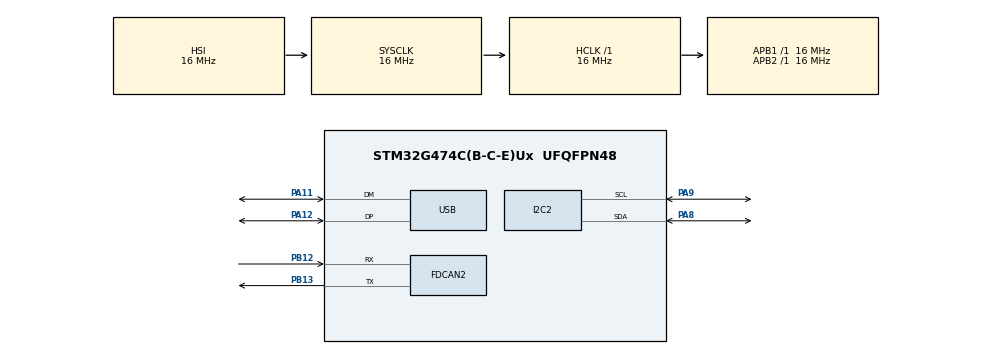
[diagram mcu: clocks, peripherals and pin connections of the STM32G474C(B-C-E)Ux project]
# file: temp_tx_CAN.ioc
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FDCAN2.CalculateBaudRateNominal=500000
FDCAN2.CalculateTimeBitNominal=2000
FDCAN2.CalculateTimeQuantumNominal=125.0
FDCAN2.NominalPrescaler=2
FDCAN2.NominalTimeSeg1=13
FDCAN2.NominalTimeSeg2=2
I2C2.Timing=0x00503D58
Mcu.Family=STM32G4
Mcu.Name=STM32G474C(B-C-E)Ux
Mcu.Package=UFQFPN48
NVIC.FDCAN2_IT0_IRQn=true\:0\:0\:false\:false\:true\:true\:true\:true
NVIC.PriorityGroup=NVIC_PRIORITYGROUP_4
NVIC.USB_LP_IRQn=true\:0\:0\:false\:false\:true\:false\:true\:true
PA11.Mode=Device
PA11.Signal=USB_DM
PA12.Mode=Device
PA12.Signal=USB_DP
PA8.Mode=I2C
PA8.Signal=I2C2_SDA
PA9.Mode=I2C
PA9.Signal=I2C2_SCL
PB12.Mode=FDCAN_Activate
PB12.Signal=FDCAN2_RX
PB13.Mode=FDCAN_Activate
PB13.Signal=FDCAN2_TX
ProjectManager.HeapSize=0x200
ProjectManager.StackSize=0x400
ProjectManager.TargetToolchain=STM32CubeIDE
RCC.AHBFreq_Value=16000000
RCC.APB1Freq_Value=16000000
RCC.APB1TimFreq_Value=16000000
RCC.APB2Freq_Value=16000000
RCC.APB2TimFreq_Value=16000000
RCC.CortexFreq_Value=16000000
RCC.EXTERNAL_CLOCK_VALUE=12288000
RCC.HCLKFreq_Value=16000000
RCC.HSE_VALUE=8000000
RCC.HSI48_VALUE=48000000
RCC.HSI_VALUE=16000000
RCC.LSE_VALUE=32768
RCC.PLLN=12
RCC.PLLQ=RCC_PLLQ_DIV4
RCC.SYSCLKFreq_VALUE=16000000
RCC.USBFreq_Value=48000000
RCC.VCOOutputFreq_Value=192000000
USB_DEVICE.CLASS_NAME_FS=CDC
USB_DEVICE.VirtualMode=Cdc
USB_DEVICE.VirtualModeFS=Cdc_FS
VP_SYS_VS_DBSignals.Mode=DisableDeadBatterySignals
VP_USB_DEVICE_VS_USB_DEVICE_CDC_FS.Mode=CDC_FS
board=custom

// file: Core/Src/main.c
/* USER CODE BEGIN Header */
/**
  ******************************************************************************
  * @file           : main.c
  * @brief          : Main program body
  ******************************************************************************
  * @attention
  *
  * Copyright (c) 2026 STMicroelectronics.
  * All rights reserved.
  *
  * This software is licensed under terms that can be found in the LICENSE file
  * in the root directory of this software component.
  * If no LICENSE file comes with this software, it is provided AS-IS.
  *
  ******************************************************************************
  */
/* USER CODE END Header */
#include "main.h"
#include "usb_device.h"

/* USER CODE BEGIN Includes */
#include <stdio.h>
#include <string.h>
#include <stdlib.h>
#include "usbd_cdc_if.h"
/* USER CODE END Includes */

/* USER CODE BEGIN PD */
#define MLX90614_ADDR   (0x5A << 1)     // 0xB4
#define MLX90614_TOBJ1  0x07
/* USER CODE END PD */

FDCAN_HandleTypeDef hfdcan2;
I2C_HandleTypeDef hi2c2;

FDCAN_TxHeaderTypeDef TxHeader;
uint8_t TxData[8] = {0};

/* USER CODE BEGIN PV */
uint16_t raw_temp;
int temp_c_x100;
int temp_f_x100;
/* USER CODE END PV */

void SystemClock_Config(void);
static void MX_GPIO_Init(void);
static void MX_FDCAN2_Init(void);
static void MX_I2C2_Init(void);

/* USER CODE BEGIN 0 */
static void CDC_Print(const char *str)
{
    uint8_t retries = 3;
    uint8_t result;
    do {
        result = CDC_Transmit_FS((uint8_t*)str, (uint16_t)strlen(str));
        if (result == USBD_BUSY) HAL_Delay(1);
    } while (result == USBD_BUSY && --retries);
}
/* USER CODE END 0 */

int main(void)
{

  /* MCU Configuration--------------------------------------------------------*/

  /* Reset of all peripherals, Initializes the Flash interface and the Systick. */
  HAL_Init();

  /* Configure the system clock */
  SystemClock_Config();

  /* Initialize all configured peripherals */
  MX_GPIO_Init();
  MX_FDCAN2_Init();
  MX_USB_Device_Init();
  MX_I2C2_Init();
  /* USER CODE BEGIN 2 */
  HAL_Delay(10000); /* let USB CDC enumerate */

  HAL_StatusTypeDef st;

  st = HAL_I2C_IsDeviceReady(&hi2c2, MLX90614_ADDR, 3, 200);
  if (st == HAL_OK) {
	  CDC_Print("MLX90614 ready\r\n");
  } else {
	  CDC_Print("MLX90614 NOT ready\r\n");
  }

  char initmsg[80];
  int initlen;

  TxHeader.Identifier = 0x100;
  TxHeader.IdType = FDCAN_STANDARD_ID;
  TxHeader.TxFrameType = FDCAN_DATA_FRAME;
  TxHeader.DataLength = FDCAN_DLC_BYTES_8;
  TxHeader.ErrorStateIndicator = FDCAN_ESI_ACTIVE;
  TxHeader.BitRateSwitch = FDCAN_BRS_OFF;
  TxHeader.FDFormat = FDCAN_CLASSIC_CAN;
  TxHeader.TxEventFifoControl = FDCAN_NO_TX_EVENTS;
  TxHeader.MessageMarker = 0;

  if (HAL_FDCAN_Start(&hfdcan2) != HAL_OK) {
	initlen = snprintf(initmsg, sizeof(initmsg), "FAIL: FDCAN Start\r\n");
	CDC_Transmit_FS((uint8_t*) initmsg, initlen);
	HAL_Delay(100);
  } else {
	  initlen = snprintf(initmsg, sizeof(initmsg), "FDCAN2 started — transmitting...\r\n");
	  CDC_Transmit_FS((uint8_t*) initmsg, initlen);
	  HAL_Delay(100);
  }
  /* USER CODE END 2 */

  /* Infinite loop */
  while (1)
  {

    /* USER CODE BEGIN 3 */
		HAL_StatusTypeDef st;
		char msg[96];
		uint8_t buf[3];   // LSB, MSB, PEC

		// Check if MLX90614 responds on the bus
		st = HAL_I2C_IsDeviceReady(&hi2c2, MLX90614_ADDR, 1, 50);
		if (st != HAL_OK) {
			snprintf(msg, sizeof(msg), "MLX not ready st=%d err=%lu\r\n",
					(int) st, (unsigned long) HAL_I2C_GetError(&hi2c2));
			CDC_Print(msg);
			HAL_Delay(500);
			continue;
		}

		// Read object temperature register (0x07)
		// read 3 bytes: LSB, MSB, PEC
		st = HAL_I2C_Mem_Read(&hi2c2,MLX90614_ADDR, MLX90614_TOBJ1, I2C_MEMADD_SIZE_8BIT, buf, 3, 200);

		if (st == HAL_OK) {
			raw_temp = ((uint16_t) buf[1] << 8) | buf[0];

			// TempC * 100 = raw * 2 - 27315
			temp_c_x100 = (int) raw_temp * 2 - 27315;
			temp_f_x100 = temp_c_x100 * 9 / 5 + 3200;

//			snprintf(msg, sizeof(msg),
//					"raw=%u  TempC=%d.%02d C  TempF=%d.%02d F\r\n",
//					(unsigned) raw_temp, temp_c_x100 / 100,
//					abs(temp_c_x100 % 100), temp_f_x100 / 100,
//					abs(temp_f_x100 % 100));

			TxData[0] = (uint8_t) temp_c_x100;
			TxData[1] = 0x00;
			TxData[2] = 0x00;
			TxData[3] = 0x00;
			TxData[4] = 0x00;
			TxData[5] = 0x00;
			TxData[6] = 0x00;
			TxData[7] = (uint8_t) temp_f_x100;

			/* Attempt to send */
			char msg[80];
			int len;

			HAL_StatusTypeDef whatsTheError = HAL_FDCAN_AddMessageToTxFifoQ(&hfdcan2, &TxHeader, TxData);
			len = snprintf(msg, sizeof(msg), "%d\r\n", whatsTheError);
			CDC_Transmit_FS((uint8_t*) msg, len);

			if (whatsTheError == HAL_OK) {
				len = snprintf(msg, sizeof(msg), "TX OK | TxData=%d\r\n", TxData[0]);
				len = snprintf(msg, sizeof(msg), "TX OK | TxData=%d\r\n", TxData[7]);
			} else {
				len = snprintf(msg, sizeof(msg), "TX FAIL");
			}

			CDC_Transmit_FS((uint8_t*) msg, len);

			HAL_Delay(1500);

		} else {
			snprintf(msg, sizeof(msg), "I2C read fail st=%d err=%lu\r\n", (int) st, (unsigned long) HAL_I2C_GetError(&hi2c2));
			HAL_Delay(500);
		}
  }
  /* USER CODE END 3 */
}

void SystemClock_Config(void)
{
  RCC_OscInitTypeDef RCC_OscInitStruct = {0};
  RCC_ClkInitTypeDef RCC_ClkInitStruct = {0};

  /** Configure the main internal regulator output voltage
  */
  HAL_PWREx_ControlVoltageScaling(PWR_REGULATOR_VOLTAGE_SCALE1);

  /** Initializes the RCC Oscillators according to the specified parameters
  * in the RCC_OscInitTypeDef structure.
  */
  RCC_OscInitStruct.OscillatorType = RCC_OSCILLATORTYPE_HSI;
  RCC_OscInitStruct.HSIState = RCC_HSI_ON;
  RCC_OscInitStruct.HSICalibrationValue = RCC_HSICALIBRATION_DEFAULT;
  RCC_OscInitStruct.PLL.PLLState = RCC_PLL_ON;
  RCC_OscInitStruct.PLL.PLLSource = RCC_PLLSOURCE_HSI;
  RCC_OscInitStruct.PLL.PLLM = RCC_PLLM_DIV1;
  RCC_OscInitStruct.PLL.PLLN = 12;
  RCC_OscInitStruct.PLL.PLLP = RCC_PLLP_DIV2;
  RCC_OscInitStruct.PLL.PLLQ = RCC_PLLQ_DIV4;
  RCC_OscInitStruct.PLL.PLLR = RCC_PLLR_DIV2;
  if (HAL_RCC_OscConfig(&RCC_OscInitStruct) != HAL_OK)
  {
    Error_Handler();
  }

  /** Initializes the CPU, AHB and APB buses clocks
  */
  RCC_ClkInitStruct.ClockType = RCC_CLOCKTYPE_HCLK|RCC_CLOCKTYPE_SYSCLK
                              |RCC_CLOCKTYPE_PCLK1|RCC_CLOCKTYPE_PCLK2;
  RCC_ClkInitStruct.SYSCLKSource = RCC_SYSCLKSOURCE_HSI;
  RCC_ClkInitStruct.AHBCLKDivider = RCC_SYSCLK_DIV1;
  RCC_ClkInitStruct.APB1CLKDivider = RCC_HCLK_DIV1;
  RCC_ClkInitStruct.APB2CLKDivider = RCC_HCLK_DIV1;

  if (HAL_RCC_ClockConfig(&RCC_ClkInitStruct, FLASH_LATENCY_0) != HAL_OK)
  {
    Error_Handler();
  }
}

static void MX_FDCAN2_Init(void)
{

  hfdcan2.Instance = FDCAN2;
  hfdcan2.Init.ClockDivider = FDCAN_CLOCK_DIV1;
  hfdcan2.Init.FrameFormat = FDCAN_FRAME_CLASSIC;
  hfdcan2.Init.Mode = FDCAN_MODE_NORMAL;
  hfdcan2.Init.AutoRetransmission = DISABLE;
  hfdcan2.Init.TransmitPause = DISABLE;
  hfdcan2.Init.ProtocolException = DISABLE;
  hfdcan2.Init.NominalPrescaler = 2;
  hfdcan2.Init.NominalSyncJumpWidth = 1;
  hfdcan2.Init.NominalTimeSeg1 = 13;
  hfdcan2.Init.NominalTimeSeg2 = 2;
  hfdcan2.Init.DataPrescaler = 1;
  hfdcan2.Init.DataSyncJumpWidth = 1;
  hfdcan2.Init.DataTimeSeg1 = 1;
  hfdcan2.Init.DataTimeSeg2 = 1;
  hfdcan2.Init.StdFiltersNbr = 0;
  hfdcan2.Init.ExtFiltersNbr = 0;
  hfdcan2.Init.TxFifoQueueMode = FDCAN_TX_FIFO_OPERATION;
  if (HAL_FDCAN_Init(&hfdcan2) != HAL_OK)
  {
    Error_Handler();
  }

}

static void MX_I2C2_Init(void)
{

  hi2c2.Instance = I2C2;
  hi2c2.Init.Timing = 0x00503D58;
  hi2c2.Init.OwnAddress1 = 0;
  hi2c2.Init.AddressingMode = I2C_ADDRESSINGMODE_7BIT;
  hi2c2.Init.DualAddressMode = I2C_DUALADDRESS_DISABLE;
  hi2c2.Init.OwnAddress2 = 0;
  hi2c2.Init.OwnAddress2Masks = I2C_OA2_NOMASK;
  hi2c2.Init.GeneralCallMode = I2C_GENERALCALL_DISABLE;
  hi2c2.Init.NoStretchMode = I2C_NOSTRETCH_DISABLE;
  if (HAL_I2C_Init(&hi2c2) != HAL_OK)
  {
    Error_Handler();
  }

  /** Configure Analogue filter
  */
  if (HAL_I2CEx_ConfigAnalogFilter(&hi2c2, I2C_ANALOGFILTER_ENABLE) != HAL_OK)
  {
    Error_Handler();
  }

  /** Configure Digital filter
  */
  if (HAL_I2CEx_ConfigDigitalFilter(&hi2c2, 0) != HAL_OK)
  {
    Error_Handler();
  }

}

static void MX_GPIO_Init(void)
{

  /* GPIO Ports Clock Enable */
  __HAL_RCC_GPIOB_CLK_ENABLE();
  __HAL_RCC_GPIOA_CLK_ENABLE();

}

void Error_Handler(void)
{
  __disable_irq();
  while (1)
  {
  }
}
